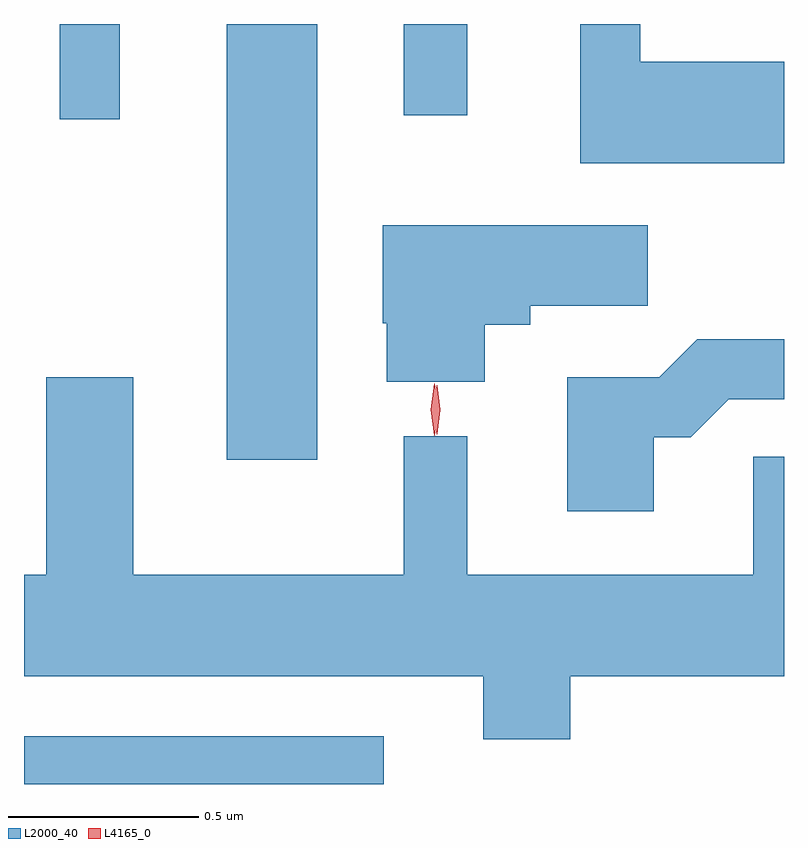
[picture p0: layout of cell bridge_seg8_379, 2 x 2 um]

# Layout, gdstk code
import gdstk
lib = gdstk.Library(unit=1e-6, precision=1e-09)
def R(c, l, rs):  # rectangles x0, y0, x1, y1
    for r in rs: c.add(gdstk.rectangle(r[:2], r[2:], *l))
def P(c, l, *ps):  # polygons
    for p in ps: c.add(gdstk.Polygon(p, *l))
L2000_40 = (2000, 40)
L4165_0 = (4165, 0)

bridge_seg8_379 = lib.new_cell('bridge_seg8_379')
R(bridge_seg8_379, L2000_40, [(725.322,1933.813,726.269,1933.939), (725.856,1934.666,726.094,1935.813), (725.416,1935.563,725.574,1935.813), (726.321,1935.573,726.489,1935.813)])
P(bridge_seg8_379, L2000_40, [(727.322,1935.714),(726.944,1935.714),(726.944,1935.813),(726.786,1935.813),(726.786,1935.446),(727.322,1935.446)],
  [(726.534,1935.021),(726.654,1935.021),(726.654,1935.071),(726.964,1935.071),(726.964,1935.284),(726.266,1935.284),(726.266,1935.025),(726.276,1935.025),(726.276,1934.871),(726.534,1934.871)],
  [(726.979,1934.726),(727.077,1934.726),(727.177,1934.826),(727.322,1934.826),(727.322,1934.984),(727.094,1934.984),(726.994,1934.884),(726.751,1934.884),(726.751,1934.531),(726.979,1934.531)],
  [(726.759,1934.096),(727.322,1934.096),(727.322,1934.674),(727.241,1934.674),(727.241,1934.364),(726.489,1934.364),(726.489,1934.728),(726.321,1934.728),(726.321,1934.364),(725.609,1934.364),(725.609,1934.884),(725.381,1934.884),(725.381,1934.364),(725.322,1934.364),(725.322,1934.096),(726.531,1934.096),(726.531,1933.931),(726.759,1933.931)])
P(bridge_seg8_379, L4165_0, [(726.403,1934.73),(726.402,1934.731),(726.393,1934.798),(726.402,1934.866),(726.403,1934.866),(726.403,1934.866),(726.413,1934.798),(726.403,1934.731)],
  [(726.408,1934.734),(726.408,1934.734),(726.398,1934.798),(726.408,1934.862),(726.408,1934.862),(726.409,1934.862),(726.418,1934.798),(726.409,1934.734)])

lib.write_gds('bridge_seg8_379.gds')
